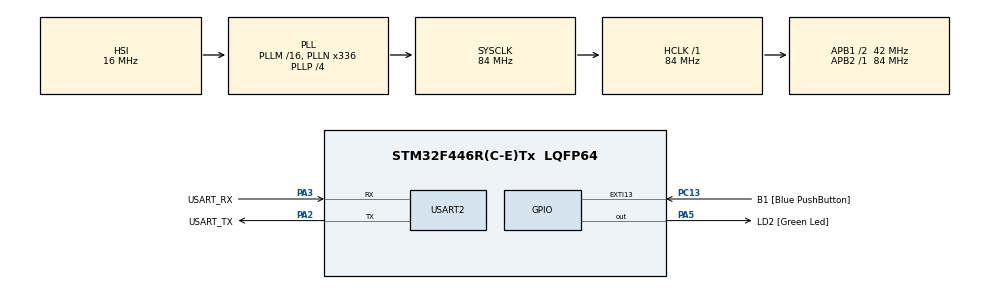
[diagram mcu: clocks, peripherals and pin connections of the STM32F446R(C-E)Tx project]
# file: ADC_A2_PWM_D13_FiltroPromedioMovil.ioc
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Mcu.Family=STM32F4
Mcu.Name=STM32F446R(C-E)Tx
Mcu.Package=LQFP64
NVIC.PriorityGroup=NVIC_PRIORITYGROUP_0
PA13.GPIO_Label=TMS
PA13.Mode=Serial_Wire
PA13.Signal=SYS_JTMS-SWDIO
PA14.GPIO_Label=TCK
PA14.Mode=Serial_Wire
PA14.Signal=SYS_JTCK-SWCLK
PA2.GPIO_Label=USART_TX
PA2.Mode=Asynchronous
PA2.Signal=USART2_TX
PA3.GPIO_Label=USART_RX
PA3.Mode=Asynchronous
PA3.Signal=USART2_RX
PA5.GPIO_Label=LD2 [Green Led]
PA5.Signal=GPIO_Output
PB3.GPIO_Label=SWO
PB3.Signal=SYS_JTDO-SWO
PC13.GPIO_Label=B1 [Blue PushButton]
PC13.GPIO_ModeDefaultEXTI=GPIO_MODE_IT_FALLING
PC13.Signal=GPXTI13
PC14-OSC32_IN.Mode=LSE-External-Oscillator
PC14-OSC32_IN.Signal=RCC_OSC32_IN
PC15-OSC32_OUT.Mode=LSE-External-Oscillator
PC15-OSC32_OUT.Signal=RCC_OSC32_OUT
PH0-OSC_IN.Mode=HSE-External-Oscillator
PH0-OSC_IN.Signal=RCC_OSC_IN
PH1-OSC_OUT.Mode=HSE-External-Oscillator
PH1-OSC_OUT.Signal=RCC_OSC_OUT
ProjectManager.HeapSize=0x200
ProjectManager.StackSize=0x400
ProjectManager.TargetToolchain=STM32CubeIDE
RCC.48MHZClocksFreq_Value=84000000
RCC.AHBFreq_Value=84000000
RCC.APB1CLKDivider=RCC_HCLK_DIV2
RCC.APB1Freq_Value=42000000
RCC.APB1TimFreq_Value=84000000
RCC.APB2Freq_Value=84000000
RCC.APB2TimFreq_Value=84000000
RCC.CortexFreq_Value=84000000
RCC.FLatency-AdvancedSettings=FLASH_LATENCY_2
RCC.HCLKFreq_Value=84000000
RCC.HSE_VALUE=8000000
RCC.HSI_VALUE=16000000
RCC.PLLN=336
RCC.PLLP=RCC_PLLP_DIV4
RCC.SYSCLKFreq_VALUE=84000000
RCC.SYSCLKSource=RCC_SYSCLKSOURCE_PLLCLK
RCC.USBFreq_Value=168000000
RCC.VCOOutputFreq_Value=336000000
USART2.VirtualMode=VM_ASYNC
board=NUCLEO-F446RE

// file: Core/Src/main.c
/* USER CODE BEGIN Header */
/**
  ******************************************************************************
  * @file           : main.c
  * @brief          : El proyecto lee un potenciómetro conectado a A2 / PA4
  * mediante ADC1_IN4, aplica un filtro de promedio móvil para estabilizar la
  * lectura y utiliza ese valor filtrado para modificar el duty cycle de una
  * señal PWM de 1 kHz generada con TIM2_CH1 sobre PA5 / D13 / LD2.
  * Además, envía por USART2 el valor ADC filtrado, la tensión estimada, el valor
  * de CCR1 y el duty cycle. El objetivo didáctico es integrar ADC, filtrado
  * digital, PWM por timer y comunicación serie, mostrando cómo el promedio móvil
  * reduce la inestabilidad del flanco de bajada de la señal PWM.
  ******************************************************************************
  * @attention
  *
  * Copyright (c) 2026 STMicroelectronics.
  * All rights reserved.
  *
  * This software is licensed under terms that can be found in the LICENSE file
  * in the root directory of this software component.
  * If no LICENSE file comes with this software, it is provided AS-IS.
  *
  ******************************************************************************
  */
/* USER CODE END Header */
#include "main.h"

/* USER CODE BEGIN Includes */
#include <stdio.h>
#include <string.h>
/* USER CODE END Includes */

/* USER CODE BEGIN PD */
#define ADC_MAX_VALUE          4095UL
#define PWM_PERIOD_COUNTS      1000UL   /* ARR + 1 */
#define ADC_FILTER_SIZE        16U      /* Cantidad de muestras del promedio móvil */
/* USER CODE END PD */

UART_HandleTypeDef huart2;

void SystemClock_Config(void);
static void MX_GPIO_Init(void);
static void MX_USART2_UART_Init(void);

/* USER CODE BEGIN PFP */
static void ADC1_PA4_Init_ByRegisters(void);
static uint32_t ADC1_ReadRaw(void);
static uint32_t ADC1_ReadMovingAverage(void);

static void TIM2_CH1_PA5_PWM_Init_ByRegisters(void);
static void PWM_SetDutyFromADC(uint32_t adc_raw);

static void USART2_SendADC_PWM_Values(uint32_t adc_value);
/* USER CODE END PFP */

/* USER CODE BEGIN 0 */
/* -------------------------------------------------------------
 * ADC1 en PA4 / A2
 * -------------------------------------------------------------
 * A2 en la NUCLEO-F446RE está conectado a PA4.
 * PA4 puede funcionar como ADC1_IN4.
 */
static void ADC1_PA4_Init_ByRegisters(void)
{
    /*
     * 1. Habilitar reloj de GPIOA
     */
    RCC->AHB1ENR |= RCC_AHB1ENR_GPIOAEN;
    (void)RCC->AHB1ENR;

    /*
     * 2. Configurar PA4 en modo analógico
     *
     * MODER4 = 11 → analog mode
     */
    GPIOA->MODER |= (3UL << (4U * 2U));

    /*
     * 3. Sin pull-up ni pull-down
     */
    GPIOA->PUPDR &= ~(3UL << (4U * 2U));

    /*
     * 4. Habilitar reloj de ADC1
     *
     * ADC1 pertenece al bus APB2.
     */
    RCC->APB2ENR |= RCC_APB2ENR_ADC1EN;
    (void)RCC->APB2ENR;

    /*
     * 5. Configurar prescaler común del ADC
     *
     * PCLK2 = 84 MHz
     * ADC clock = PCLK2 / 4 = 21 MHz
     *
     * En ADC->CCR, ADCPRE[1:0] está en bits 17:16.
     * 01 → PCLK2 dividido por 4.
     */
    ADC->CCR &= ~(3UL << 16U);
    ADC->CCR |=  (1UL << 16U);

    /*
     * 6. Configuración básica del ADC
     *
     * CR1 = 0:
     * - Resolución por defecto: 12 bits
     * - Scan mode deshabilitado
     *
     * CR2 = 0:
     * - Conversión continua deshabilitada
     * - Alineación a la derecha
     * - Disparo por software
     */
    ADC1->CR1 = 0U;
    ADC1->CR2 = 0U;

    /*
     * 7. Tiempo de muestreo para el canal 4
     *
     * Canal 4 usa SMP4 en ADC_SMPR2[14:12].
     * Valor 100 → 84 ciclos de ADC.
     */
    ADC1->SMPR2 &= ~(7UL << (4U * 3U));
    ADC1->SMPR2 |=  (4UL << (4U * 3U));

    /*
     * 8. Secuencia regular de una sola conversión
     *
     * L = 0000 → 1 conversión.
     */
    ADC1->SQR1 &= ~(0xFUL << 20U);

    /*
     * 9. Primera conversión de la secuencia: canal 4
     *
     * SQ1 = 4 → ADC_CHANNEL_4.
     */
    ADC1->SQR3 &= ~(0x1FUL << 0U);
    ADC1->SQR3 |=  (4UL << 0U);

    /*
     * 10. Asegurar alineación a la derecha,
     * conversión simple y disparo por software.
     */
    ADC1->CR2 &= ~ADC_CR2_ALIGN;
    ADC1->CR2 &= ~ADC_CR2_CONT;
    ADC1->CR2 &= ~ADC_CR2_EXTEN;

    /*
     * 11. Encender ADC1
     */
    ADC1->CR2 |= ADC_CR2_ADON;

    /*
     * Pequeña espera para estabilización.
     */
    HAL_Delay(1);
}

static uint32_t ADC1_ReadRaw(void)
{
    /*
     * Limpiar flag EOC antes de iniciar.
     */
    ADC1->SR &= ~ADC_SR_EOC;

    /*
     * Iniciar conversión regular por software.
     */
    ADC1->CR2 |= ADC_CR2_SWSTART;

    /*
     * Esperar hasta que termine la conversión.
     * Esta espera es polling.
     */
    while ((ADC1->SR & ADC_SR_EOC) == 0U)
    {
        /* Polling */
    }

    /*
     * Leer el registro de datos.
     * Para 12 bits, el valor útil va de 0 a 4095.
     */
    return (ADC1->DR & 0xFFFFUL);
}

/* -------------------------------------------------------------
 * Promedio móvil para estabilizar la lectura del ADC
 * -------------------------------------------------------------
 * Se promedian las últimas ADC_FILTER_SIZE muestras.
 * Esto reduce pequeñas fluctuaciones de la lectura cruda.
 */
static uint32_t ADC1_ReadMovingAverage(void)
{
    static uint32_t buffer[ADC_FILTER_SIZE] = {0U};
    static uint32_t index = 0U;
    static uint32_t sum = 0U;
    static uint32_t count = 0U;

    uint32_t new_sample;
    uint32_t average;

    /*
     * 1. Tomar una nueva muestra del ADC.
     */
    new_sample = ADC1_ReadRaw();

    /*
     * 2. Mientras el buffer no se llenó por primera vez,
     * se acumulan solo las muestras disponibles.
     */
    if (count < ADC_FILTER_SIZE)
    {
        buffer[index] = new_sample;
        sum += new_sample;
        count++;
    }
    else
    {
        /*
         * 3. Cuando el buffer ya está lleno:
         * - se resta la muestra más antigua,
         * - se reemplaza por la nueva,
         * - se suma la nueva muestra.
         */
        sum -= buffer[index];
        buffer[index] = new_sample;
        sum += new_sample;
    }

    /*
     * 4. Avance circular del índice.
     */
    index++;

    if (index >= ADC_FILTER_SIZE)
    {
        index = 0U;
    }

    /*
     * 5. Promedio de las últimas muestras disponibles.
     */
    average = sum / count;

    return average;
}

/* -------------------------------------------------------------
 * PWM en PA5 / D13 / TIM2_CH1
 * -------------------------------------------------------------
 * PA5 está conectado a D13 y al LED LD2.
 * PA5 puede funcionar como TIM2_CH1 usando AF1.
 */
static void TIM2_CH1_PA5_PWM_Init_ByRegisters(void)
{
    /*
     * 1. Habilitar reloj de GPIOA
     */
    RCC->AHB1ENR |= RCC_AHB1ENR_GPIOAEN;
    (void)RCC->AHB1ENR;

    /*
     * 2. Configurar PA5 como función alternativa
     *
     * MODER5 = 10 → Alternate Function
     */
    GPIOA->MODER &= ~(3UL << (5U * 2U));
    GPIOA->MODER |=  (2UL << (5U * 2U));

    /*
     * 3. Salida push-pull
     */
    GPIOA->OTYPER &= ~(1UL << 5U);

    /*
     * 4. Velocidad alta para una señal PWM limpia
     */
    GPIOA->OSPEEDR &= ~(3UL << (5U * 2U));
    GPIOA->OSPEEDR |=  (2UL << (5U * 2U));

    /*
     * 5. Sin pull-up ni pull-down
     */
    GPIOA->PUPDR &= ~(3UL << (5U * 2U));

    /*
     * 6. Seleccionar AF1 para PA5
     *
     * AF1 corresponde a TIM2_CH1.
     */
    GPIOA->AFR[0] &= ~(0xFUL << (5U * 4U));
    GPIOA->AFR[0] |=  (1UL   << (5U * 4U));

    /*
     * 7. Habilitar reloj de TIM2
     *
     * TIM2 pertenece a APB1.
     *
     * PCLK1 = 42 MHz
     * APB1 prescaler = /2
     * f_TIM2 = 2 x PCLK1 = 84 MHz
     */
    RCC->APB1ENR |= RCC_APB1ENR_TIM2EN;
    (void)RCC->APB1ENR;

    /*
     * 8. Detener TIM2 durante la configuración.
     */
    TIM2->CR1 &= ~TIM_CR1_CEN;

    /*
     * Queremos PWM de 1 kHz.
     *
     * f_TIM2 = 84 MHz
     *
     * PSC = 83
     * f_CNT = 84 MHz / (83 + 1)
     * f_CNT = 1 MHz
     *
     * ARR = 999
     * f_PWM = 1 MHz / (999 + 1)
     * f_PWM = 1 kHz
     */
    TIM2->PSC = 83U;
    TIM2->ARR = 999U;
    TIM2->CNT = 0U;

    /*
     * Duty inicial: 0 %
     */
    TIM2->CCR1 = 0U;

    /*
     * 9. Canal 1 como salida
     *
     * CC1S = 00 → canal configurado como salida.
     */
    TIM2->CCMR1 &= ~TIM_CCMR1_CC1S;

    /*
     * 10. Configurar canal 1 en PWM mode 1
     *
     * OC1M = 110 → PWM mode 1
     *
     * En PWM mode 1:
     * La salida está activa mientras CNT < CCR1.
     */
    TIM2->CCMR1 &= ~TIM_CCMR1_OC1M;
    TIM2->CCMR1 |=  (6UL << 4U);

    /*
     * 11. Habilitar preload de CCR1
     *
     * Esto hace que los cambios de CCR1 se apliquen
     * de forma ordenada en eventos de actualización.
     */
    TIM2->CCMR1 |= TIM_CCMR1_OC1PE;

    /*
     * 12. Polaridad activa en alto y habilitar salida CH1
     */
    TIM2->CCER &= ~TIM_CCER_CC1P;
    TIM2->CCER |=  TIM_CCER_CC1E;

    /*
     * 13. Habilitar preload de ARR
     */
    TIM2->CR1 |= TIM_CR1_ARPE;

    /*
     * 14. Conteo ascendente, edge-aligned
     */
    TIM2->CR1 &= ~TIM_CR1_CMS;
    TIM2->CR1 &= ~TIM_CR1_DIR;

    /*
     * 15. Generar evento de actualización para cargar PSC, ARR y CCR.
     */
    TIM2->EGR |= TIM_EGR_UG;

    /*
     * 16. Arrancar TIM2
     */
    TIM2->CR1 |= TIM_CR1_CEN;
}

static void PWM_SetDutyFromADC(uint32_t adc_raw)
{
    uint32_t ccr_value;

    /*
     * Limitar por seguridad el valor leído.
     */
    if (adc_raw > ADC_MAX_VALUE)
    {
        adc_raw = ADC_MAX_VALUE;
    }

    /*
     * Escalado:
     *
     * ADC:  0 a 4095
     * PWM:  0 a 1000 cuentas
     *
     * Como ARR = 999, el período tiene 1000 cuentas.
     *
     * CCR1 = 0    → 0 %
     * CCR1 = 500  → 50 %
     * CCR1 = 1000 → 100 %
     */
    ccr_value = (adc_raw * PWM_PERIOD_COUNTS) / ADC_MAX_VALUE;

    /*
     * Actualizar duty cycle.
     * El hardware del timer genera la PWM automáticamente.
     */
    TIM2->CCR1 = ccr_value;
}

static void USART2_SendADC_PWM_Values(uint32_t adc_value)
{
    char tx_buffer[128];

    uint32_t voltage_mv;
    uint32_t ccr_value;
    uint32_t duty_x10;
    int len;

    /*
     * Limitar por seguridad.
     */
    if (adc_value > ADC_MAX_VALUE)
    {
        adc_value = ADC_MAX_VALUE;
    }

    /*
     * Conversión aproximada a milivoltios.
     * Se asume VREF = 3.3 V.
     */
    voltage_mv = (adc_value * 3300UL) / ADC_MAX_VALUE;

    /*
     * Mismo escalado usado para el PWM.
     */
    ccr_value = (adc_value * PWM_PERIOD_COUNTS) / ADC_MAX_VALUE;

    /*
     * Duty en décimas de porcentaje.
     * Ejemplo:
     * 505 representa 50.5 %
     */
    duty_x10 = (ccr_value * 1000UL) / PWM_PERIOD_COUNTS;

    len = snprintf(tx_buffer,
                   sizeof(tx_buffer),
                   "ADC=%4lu | V=%lu.%03lu V | CCR1=%4lu | Duty=%lu.%lu %%\r\n",
                   (unsigned long)adc_value,
                   (unsigned long)(voltage_mv / 1000UL),
                   (unsigned long)(voltage_mv % 1000UL),
                   (unsigned long)ccr_value,
                   (unsigned long)(duty_x10 / 10UL),
                   (unsigned long)(duty_x10 % 10UL));

    if (len > 0)
    {
        HAL_UART_Transmit(&huart2,
                          (uint8_t *)tx_buffer,
                          (uint16_t)len,
                          HAL_MAX_DELAY);
    }
}
/* USER CODE END 0 */

int main(void)
{

  /* MCU Configuration--------------------------------------------------------*/

  /* Reset of all peripherals, Initializes the Flash interface and the Systick. */
  HAL_Init();

  /* Configure the system clock */
  SystemClock_Config();

  /* Initialize all configured peripherals */
  MX_GPIO_Init();
  MX_USART2_UART_Init();
  /* USER CODE BEGIN 2 */
  ADC1_PA4_Init_ByRegisters();
  TIM2_CH1_PA5_PWM_Init_ByRegisters();
  /* USER CODE END 2 */

  /* Infinite loop */
  while (1)
  {

    /* USER CODE BEGIN 3 */
	  	uint32_t adc_filtered = ADC1_ReadMovingAverage();

	    PWM_SetDutyFromADC(adc_filtered);
	    /*
	     * Enviar datos por USART2 cada 250 ms.
	     * La PWM se sigue actualizando cada 10 ms.
	    */
	    static uint32_t last_uart_tick = 0U;
	    uint32_t current_tick = HAL_GetTick();

	    if ((current_tick - last_uart_tick) >= 250U)
	    {
	        last_uart_tick = current_tick;

	        USART2_SendADC_PWM_Values(adc_filtered);
	    }

	    /*
	     * Esta demora no genera la PWM.
	     * La PWM la genera TIM2 por hardware.
	     * Esta demora solo define cada cuánto se toma una nueva muestra
	     * y se actualiza el duty cycle.
	     */
	    HAL_Delay(10);
  }
  /* USER CODE END 3 */
}

void SystemClock_Config(void)
{
  RCC_OscInitTypeDef RCC_OscInitStruct = {0};
  RCC_ClkInitTypeDef RCC_ClkInitStruct = {0};

  /** Configure the main internal regulator output voltage
  */
  __HAL_RCC_PWR_CLK_ENABLE();
  __HAL_PWR_VOLTAGESCALING_CONFIG(PWR_REGULATOR_VOLTAGE_SCALE3);

  /** Initializes the RCC Oscillators according to the specified parameters
  * in the RCC_OscInitTypeDef structure.
  */
  RCC_OscInitStruct.OscillatorType = RCC_OSCILLATORTYPE_HSI;
  RCC_OscInitStruct.HSIState = RCC_HSI_ON;
  RCC_OscInitStruct.HSICalibrationValue = RCC_HSICALIBRATION_DEFAULT;
  RCC_OscInitStruct.PLL.PLLState = RCC_PLL_ON;
  RCC_OscInitStruct.PLL.PLLSource = RCC_PLLSOURCE_HSI;
  RCC_OscInitStruct.PLL.PLLM = 16;
  RCC_OscInitStruct.PLL.PLLN = 336;
  RCC_OscInitStruct.PLL.PLLP = RCC_PLLP_DIV4;
  RCC_OscInitStruct.PLL.PLLQ = 2;
  RCC_OscInitStruct.PLL.PLLR = 2;
  if (HAL_RCC_OscConfig(&RCC_OscInitStruct) != HAL_OK)
  {
    Error_Handler();
  }

  /** Initializes the CPU, AHB and APB buses clocks
  */
  RCC_ClkInitStruct.ClockType = RCC_CLOCKTYPE_HCLK|RCC_CLOCKTYPE_SYSCLK
                              |RCC_CLOCKTYPE_PCLK1|RCC_CLOCKTYPE_PCLK2;
  RCC_ClkInitStruct.SYSCLKSource = RCC_SYSCLKSOURCE_PLLCLK;
  RCC_ClkInitStruct.AHBCLKDivider = RCC_SYSCLK_DIV1;
  RCC_ClkInitStruct.APB1CLKDivider = RCC_HCLK_DIV2;
  RCC_ClkInitStruct.APB2CLKDivider = RCC_HCLK_DIV1;

  if (HAL_RCC_ClockConfig(&RCC_ClkInitStruct, FLASH_LATENCY_2) != HAL_OK)
  {
    Error_Handler();
  }
}

static void MX_USART2_UART_Init(void)
{

  huart2.Instance = USART2;
  huart2.Init.BaudRate = 115200;
  huart2.Init.WordLength = UART_WORDLENGTH_8B;
  huart2.Init.StopBits = UART_STOPBITS_1;
  huart2.Init.Parity = UART_PARITY_NONE;
  huart2.Init.Mode = UART_MODE_TX_RX;
  huart2.Init.HwFlowCtl = UART_HWCONTROL_NONE;
  huart2.Init.OverSampling = UART_OVERSAMPLING_16;
  if (HAL_UART_Init(&huart2) != HAL_OK)
  {
    Error_Handler();
  }

}

static void MX_GPIO_Init(void)
{
  GPIO_InitTypeDef GPIO_InitStruct = {0};

  /* GPIO Ports Clock Enable */
  __HAL_RCC_GPIOC_CLK_ENABLE();
  __HAL_RCC_GPIOH_CLK_ENABLE();
  __HAL_RCC_GPIOA_CLK_ENABLE();
  __HAL_RCC_GPIOB_CLK_ENABLE();

  /*Configure GPIO pin Output Level */
  HAL_GPIO_WritePin(LD2_GPIO_Port, LD2_Pin, GPIO_PIN_RESET);

  /*Configure GPIO pin : B1_Pin */
  GPIO_InitStruct.Pin = B1_Pin;
  GPIO_InitStruct.Mode = GPIO_MODE_IT_FALLING;
  GPIO_InitStruct.Pull = GPIO_NOPULL;
  HAL_GPIO_Init(B1_GPIO_Port, &GPIO_InitStruct);

  /*Configure GPIO pin : LD2_Pin */
  GPIO_InitStruct.Pin = LD2_Pin;
  GPIO_InitStruct.Mode = GPIO_MODE_OUTPUT_PP;
  GPIO_InitStruct.Pull = GPIO_NOPULL;
  GPIO_InitStruct.Speed = GPIO_SPEED_FREQ_LOW;
  HAL_GPIO_Init(LD2_GPIO_Port, &GPIO_InitStruct);

}

void Error_Handler(void)
{
  __disable_irq();
  while (1)
  {
  }
}
